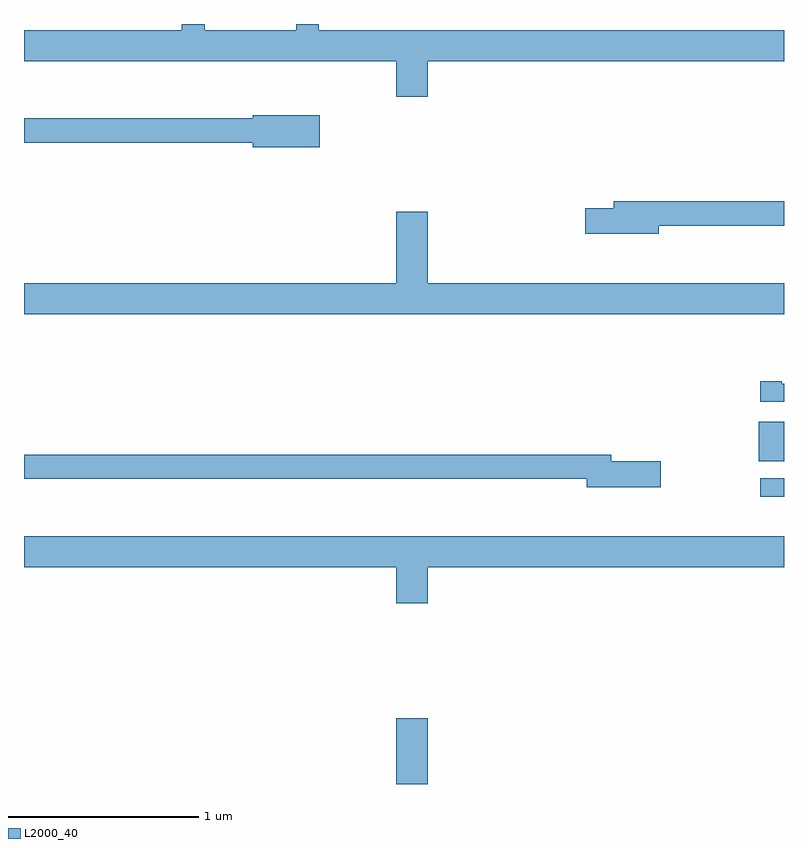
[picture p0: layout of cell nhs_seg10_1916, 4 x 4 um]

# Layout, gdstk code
import gdstk
lib = gdstk.Library(unit=1e-6, precision=1e-09)
def R(c, l, rs):  # rectangles x0, y0, x1, y1
    for r in rs: c.add(gdstk.rectangle(r[:2], r[2:], *l))
def P(c, l, *ps):  # polygons
    for p in ps: c.add(gdstk.Polygon(p, *l))
L2000_40 = (2000, 40)

nhs_seg10_1916 = lib.new_cell('nhs_seg10_1916')
R(nhs_seg10_1916, L2000_40, [(212.96,1308.5,213.124,1308.847), (214.875,1310.013,215,1310.109), (214.868,1310.198,215,1310.407)])
P(nhs_seg10_1916, L2000_40, [(213.124,1312.304),(215,1312.304),(215,1312.468),(212.552,1312.468),(212.552,1312.5),(212.434,1312.5),(212.434,1312.468),(211.95,1312.468),(211.95,1312.5),(211.831,1312.5),(211.831,1312.468),(211,1312.468),(211,1312.304),(212.96,1312.304),(212.96,1312.116),(213.124,1312.116)],
  [(212.557,1312.021),(212.204,1312.021),(212.204,1312.003),(211,1312.003),(211,1311.874),(212.204,1311.874),(212.204,1311.851),(212.557,1311.851)],
  [(214.342,1311.438),(215,1311.438),(215,1311.566),(214.103,1311.566),(214.103,1311.53),(213.954,1311.53),(213.954,1311.395),(214.342,1311.395)],
  [(215,1311.136),(213.124,1311.136),(213.124,1311.511),(212.96,1311.511),(212.96,1311.136),(211,1311.136),(211,1310.972),(215,1310.972)],
  [(215,1310.607),(214.987,1310.607),(214.987,1310.62),(214.875,1310.62),(214.875,1310.511),(215,1310.511)],
  [(214.351,1310.198),(214.09,1310.198),(214.09,1310.234),(211,1310.234),(211,1310.106),(213.962,1310.106),(213.962,1310.063),(214.351,1310.063)],
  [(213.124,1309.64),(215,1309.64),(215,1309.804),(211,1309.804),(211,1309.64),(212.96,1309.64),(212.96,1309.452),(213.124,1309.452)])

lib.write_gds('nhs_seg10_1916.gds')
